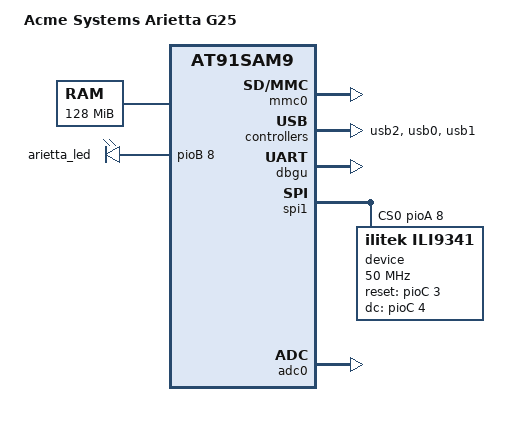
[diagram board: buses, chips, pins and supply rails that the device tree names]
// SPDX-License-Identifier: GPL-2.0
/*
 * Device Tree file for Arietta G25 and XTerm-01
 * https://www.acmesystems.it/XTERM-01
 */
/dts-v1/;
#include "at91sam9g25.dtsi"
/ {
	model = "Acme Systems Arietta G25";
	compatible = "acme,ariettag25", "atmel,at91sam9x5", "atmel,at91sam9";

	aliases {
		serial0 = &dbgu;
	};

	chosen {
		stdout-path = "serial0:115200n8";
	};

	memory {
		reg = <0x20000000 0x8000000>;
	};

	clocks {
		slow_xtal {
			clock-frequency = <32768>;
		};

		main_xtal {
			clock-frequency = <12000000>;
		};
	};

	ahb {
		apb {
			mmc0: mmc@f0008000 {
				pinctrl-0 = <
				  &pinctrl_mmc0_slot0_clk_cmd_dat0
				  &pinctrl_mmc0_slot0_dat1_3>;
				status = "okay";

				slot@0 {
					reg = <0>;
					bus-width = <4>;
				};
			};

			tcb0: timer@f8008000 {
				timer@0 {
					compatible = "atmel,tcb-timer";
					reg = <0>;
				};

				timer@1 {
					compatible = "atmel,tcb-timer";
					reg = <1>;
				};
			};

			usb2: gadget@f803c000 {
				status = "okay";
			};

			dbgu: serial@fffff200 {
				status = "okay";
			};

			rtc@fffffeb0 {
				status = "okay";
			};
			
			spi1: spi@f0004000 {
				status = "okay";
				cs-gpios = <&pioA 8 0>;

				device@0 {
					rotate = <270>;
					bgr;
					fps = <30>;
					compatible = "ilitek,ili9341";
					spi-max-frequency = <50000000>;   
					reg = <0>;
					regwidth = <8>;
					buswidth = <8>;
					verbose = <3>;
					reset-gpios = <&pioC 3 0>; /* PC3 - J4.33 */
					dc-gpios = <&pioC 4 0>;    /* PC4 - J4.31 */
				};
			};
			
			adc0: adc@f804c000 {
				compatible = "atmel,at91sam9x5-adc";
				atmel,adc-clock-rate = <1000000>;
				atmel,adc-ts-wires = <4>;
				atmel,adc-ts-pressure-threshold = <10000>;
				status = "okay";
			};
		};

		usb0: ohci@600000 {
			status = "okay";
			num-ports = <3>;
		};

		usb1: ehci@700000 {
			status = "okay";
		};
	};

	leds {
		compatible = "gpio-leds";
		arietta_led {
			label = "arietta_led";
			gpios = <&pioB 8 GPIO_ACTIVE_HIGH>; /* PB8 */
			linux,default-trigger = "heartbeat";
		};
	};
};
